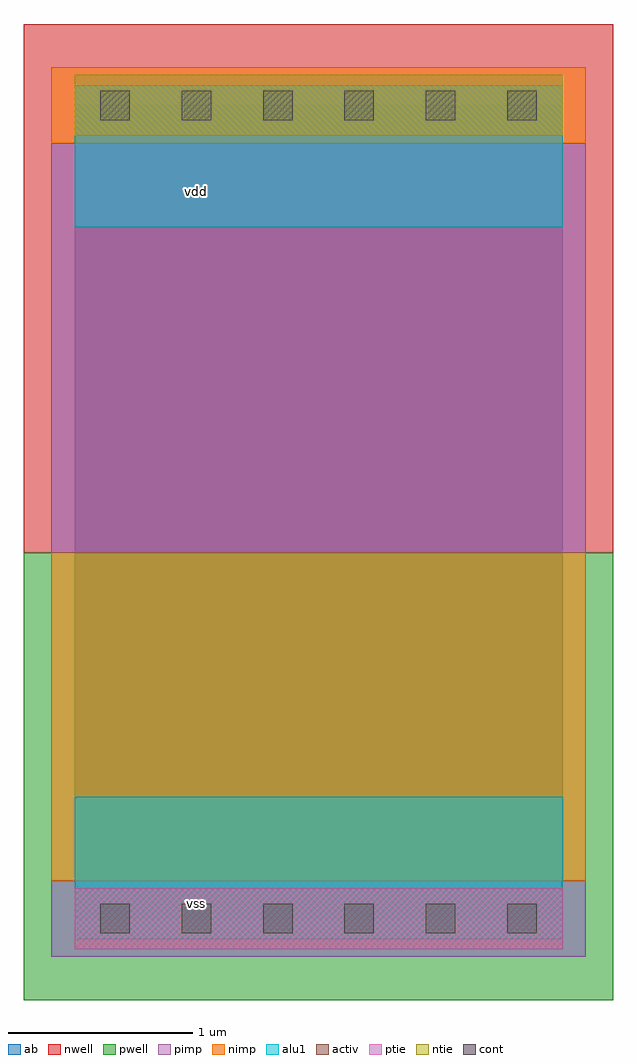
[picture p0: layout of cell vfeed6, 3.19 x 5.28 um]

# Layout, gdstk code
import gdstk
lib = gdstk.Library(unit=1e-6, precision=2.5e-09)
def R(c, l, rs):  # rectangles x0, y0, x1, y1
    for r in rs: c.add(gdstk.rectangle(r[:2], r[2:], *l))
def A(c, l, x, y, w, h, nx, ny, dx, dy):  # array of equal rectangles
    R(c, l, [(x+i*dx, y+j*dy, x+i*dx+w, y+j*dy+h) for i in range(nx) for j in range(ny)])
ntie = (5, 0)
ptie = (6, 0)
cont = (25, 0)
pwell = (41, 0)
nwell = (42, 0)
activ = (43, 0)
pimp = (44, 0)
nimp = (45, 0)
alu1 = (49, 0)
ab = (63, 0)

vfeed6 = lib.new_cell('vfeed6')
R(vfeed6, ntie, [(0,4.235,2.64,4.565)])
R(vfeed6, ptie, [(0,-0.165,2.64,0.165)])
A(vfeed6, cont, 0.14, -0.08, 0.16, 0.16, 6, 2, 0.44, 4.4)
R(vfeed6, pwell, [(-0.275,-0.44,2.915,1.98)])
R(vfeed6, nwell, [(-0.275,1.98,2.915,4.84)])
R(vfeed6, activ, [(0,-0.165,2.64,0.165), (0,4.235,2.64,4.565)])
R(vfeed6, pimp, [(-0.125,-0.205,2.765,0.205), (-0.125,1.98,2.765,4.195)])
R(vfeed6, nimp, [(-0.125,0.205,2.765,1.98), (-0.125,4.195,2.765,4.605)])
R(vfeed6, alu1, [(0,-0.11,2.64,0.66), (0,3.74,2.64,4.51)])
R(vfeed6, ab, [(0,0,2.64,4.4)])
vfeed6.add(gdstk.Label('vss', (0.66,0.0825), layer=49, texttype=0))
vfeed6.add(gdstk.Label('vdd', (0.66,3.9325), layer=49, texttype=0))

lib.write_gds('vfeed6.gds')
